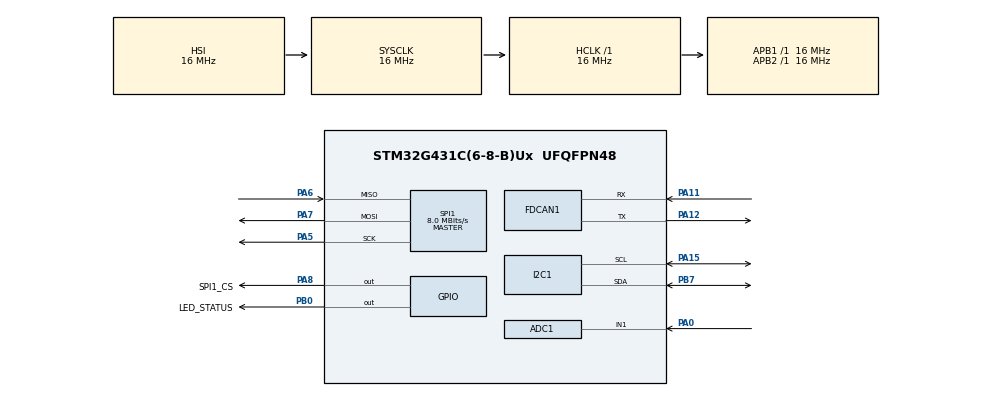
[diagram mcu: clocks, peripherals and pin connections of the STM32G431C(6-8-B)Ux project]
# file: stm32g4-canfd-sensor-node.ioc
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ADC1.Channel-0\#ChannelRegularConversion=ADC_CHANNEL_1
ADC1.NbrOfConversionFlag=1
ADC1.OffsetNumber-0\#ChannelRegularConversion=ADC_OFFSET_NONE
ADC1.Rank-0\#ChannelRegularConversion=1
ADC1.SamplingTime-0\#ChannelRegularConversion=ADC_SAMPLETIME_2CYCLES_5
ADC1.master=1
FDCAN1.CalculateBaudRateNominal=333333
FDCAN1.CalculateTimeBitNominal=3000
FDCAN1.CalculateTimeQuantumNominal=1000.0
I2C1.Timing=0x00503D58
Mcu.Family=STM32G4
Mcu.Name=STM32G431C(6-8-B)Ux
Mcu.Package=UFQFPN48
NVIC.PriorityGroup=NVIC_PRIORITYGROUP_4
PA0.Mode=IN1-Single-Ended
PA0.Signal=ADC1_IN1
PA11.Mode=FDCAN_Activate
PA11.Signal=FDCAN1_RX
PA12.Mode=FDCAN_Activate
PA12.Signal=FDCAN1_TX
PA13.Mode=Serial_Wire
PA13.Signal=SYS_JTMS-SWDIO
PA14.Mode=Serial_Wire
PA14.Signal=SYS_JTCK-SWCLK
PA15.Mode=I2C
PA15.Signal=I2C1_SCL
PA5.Mode=Full_Duplex_Master
PA5.Signal=SPI1_SCK
PA6.Mode=Full_Duplex_Master
PA6.Signal=SPI1_MISO
PA7.Mode=Full_Duplex_Master
PA7.Signal=SPI1_MOSI
PA8.GPIO_Label=SPI1_CS
PA8.PinState=GPIO_PIN_SET
PA8.Signal=GPIO_Output
PB0.GPIO_Label=LED_STATUS
PB0.Signal=GPIO_Output
PB7.Mode=I2C
PB7.Signal=I2C1_SDA
ProjectManager.HeapSize=0x200
ProjectManager.StackSize=0x400
ProjectManager.TargetToolchain=STM32CubeIDE
RCC.AHBFreq_Value=16000000
RCC.APB1Freq_Value=16000000
RCC.APB1TimFreq_Value=16000000
RCC.APB2Freq_Value=16000000
RCC.APB2TimFreq_Value=16000000
RCC.CortexFreq_Value=16000000
RCC.EXTERNAL_CLOCK_VALUE=12288000
RCC.HCLKFreq_Value=16000000
RCC.HSE_VALUE=8000000
RCC.HSI48_VALUE=48000000
RCC.HSI_VALUE=16000000
RCC.LSE_VALUE=32768
RCC.SYSCLKFreq_VALUE=16000000
RCC.USBFreq_Value=64000000
RCC.VCOOutputFreq_Value=128000000
SPI1.CalculateBaudRate=8.0 MBits/s
SPI1.Direction=SPI_DIRECTION_2LINES
SPI1.Mode=SPI_MODE_MASTER
SPI1.VirtualType=VM_MASTER
VP_SYS_VS_DBSignals.Mode=DisableDeadBatterySignals
board=custom

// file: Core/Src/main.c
/* USER CODE BEGIN Header */
/**
  ******************************************************************************
  * @file           : main.c
  * @brief          : Main program body
  ******************************************************************************
  * @attention
  *
  * Copyright (c) 2026 STMicroelectronics.
  * All rights reserved.
  *
  * This software is licensed under terms that can be found in the LICENSE file
  * in the root directory of this software component.
  * If no LICENSE file comes with this software, it is provided AS-IS.
  *
  ******************************************************************************
  */
/* USER CODE END Header */
#include "main.h"
#include "adc.h"
#include "fdcan.h"
#include "i2c.h"
#include "spi.h"
#include "gpio.h"

/* USER CODE BEGIN PV */
#define TMP101_I2C_ADDR_7BIT        0x48U
#define TMP101_REG_TEMP             0x00U

#define LIS3DH_WHO_AM_I_REG         0x0FU
#define LIS3DH_CTRL_REG1_REG        0x20U
#define LIS3DH_CTRL_REG4_REG        0x23U
#define LIS3DH_OUT_X_L_REG          0x28U

#define LIS3DH_SPI_READ_BIT         0x80U
#define LIS3DH_SPI_MS_BIT           0x40U
#define LIS3DH_WHO_AM_I_VAL         0x33U

#define LIS3DH_CTRL_REG1_100HZ_XYZ  0x57U
#define LIS3DH_CTRL_REG4_2G_HR      0x88U

typedef struct
{
  int16_t x_raw;
  int16_t y_raw;
  int16_t z_raw;
  float x_g;
  float y_g;
  float z_g;
} LIS3DH_AccelData_t;

uint8_t tmp101_raw[2] = { 0 };
float temperature_c = 0.0f;
HAL_StatusTypeDef tmp101_status = HAL_ERROR;

uint8_t lis3dh_who_am_i = 0;
HAL_StatusTypeDef lis3dh_spi_status = HAL_ERROR;
HAL_StatusTypeDef lis3dh_init_status = HAL_ERROR;
HAL_StatusTypeDef lis3dh_xyz_status = HAL_ERROR;
LIS3DH_AccelData_t lis3dh_accel = { 0 };
/* USER CODE END PV */

void SystemClock_Config(void);

/* USER CODE BEGIN 0 */
static float TMP101_ReadCelsius(I2C_HandleTypeDef *hi2c, HAL_StatusTypeDef *status)
{
  HAL_StatusTypeDef ret;

  if ((hi2c == NULL) || (status == NULL))
  {
    if (status != NULL)
    {
      *status = HAL_ERROR;
    }
    return 0.0f;
  }

  ret = HAL_I2C_Mem_Read(hi2c, (uint16_t)(TMP101_I2C_ADDR_7BIT << 1),
                         TMP101_REG_TEMP, I2C_MEMADD_SIZE_8BIT,
                         tmp101_raw, 2U, 100U);
  *status = ret;

  if (ret != HAL_OK)
  {
    return 0.0f;
  }

  /* Convert raw 12-bit temperature register data to degrees Celsius */
  int16_t raw_12bit = (int16_t)(((uint16_t)tmp101_raw[0] << 8) | tmp101_raw[1]) >> 4;
  if (raw_12bit & 0x0800)
  {
    raw_12bit |= (int16_t)0xF000;
  }

  return (float)raw_12bit * 0.0625f;
}

static HAL_StatusTypeDef LIS3DH_ReadWhoAmI(SPI_HandleTypeDef *hspi, uint8_t *p_id)
{
  uint8_t tx_data[2] = { (uint8_t)(LIS3DH_SPI_READ_BIT | LIS3DH_WHO_AM_I_REG), 0x00U };
  uint8_t rx_data[2] = { 0x00U, 0x00U };
  HAL_StatusTypeDef status;

  if (p_id == NULL)
  {
    return HAL_ERROR;
  }

  /* Assert CS low to start SPI transaction */
  HAL_GPIO_WritePin(SPI1_CS_GPIO_Port, SPI1_CS_Pin, GPIO_PIN_RESET);
  status = HAL_SPI_TransmitReceive(hspi, tx_data, rx_data, 2U, 100U);
  /* Deassert CS high after SPI transaction completes */
  HAL_GPIO_WritePin(SPI1_CS_GPIO_Port, SPI1_CS_Pin, GPIO_PIN_SET);

  if (status == HAL_OK)
  {
    *p_id = rx_data[1];
  }

  return status;
}

static HAL_StatusTypeDef LIS3DH_WriteReg(SPI_HandleTypeDef *hspi, uint8_t reg, uint8_t value)
{
  uint8_t tx_data[2] = { (uint8_t)(reg & 0x3FU), value };
  HAL_StatusTypeDef status;

  /* Assert CS low to start SPI write transaction */
  HAL_GPIO_WritePin(SPI1_CS_GPIO_Port, SPI1_CS_Pin, GPIO_PIN_RESET);
  status = HAL_SPI_Transmit(hspi, tx_data, 2U, 100U);
  /* Deassert CS high after SPI write transaction */
  HAL_GPIO_WritePin(SPI1_CS_GPIO_Port, SPI1_CS_Pin, GPIO_PIN_SET);

  return status;
}

static HAL_StatusTypeDef LIS3DH_InitAccel(SPI_HandleTypeDef *hspi)
{
  HAL_StatusTypeDef status;

  status = LIS3DH_WriteReg(hspi, LIS3DH_CTRL_REG4_REG, LIS3DH_CTRL_REG4_2G_HR);
  if (status != HAL_OK)
  {
    return status;
  }

  return LIS3DH_WriteReg(hspi, LIS3DH_CTRL_REG1_REG, LIS3DH_CTRL_REG1_100HZ_XYZ);
}

static HAL_StatusTypeDef LIS3DH_ReadAccelXYZ(SPI_HandleTypeDef *hspi, LIS3DH_AccelData_t *p_accel)
{
  /* Read 6 consecutive bytes starting at OUT_X_L (0x28) with READ + MS bits set */
  uint8_t tx_data[7] = {
    (uint8_t)(LIS3DH_SPI_READ_BIT | LIS3DH_SPI_MS_BIT | LIS3DH_OUT_X_L_REG),
    0x00U, 0x00U, 0x00U, 0x00U, 0x00U, 0x00U
  };
  uint8_t rx_data[7] = { 0 };
  HAL_StatusTypeDef status;

  if (p_accel == NULL)
  {
    return HAL_ERROR;
  }

  /* Assert CS low to start multi-byte SPI read transaction */
  HAL_GPIO_WritePin(SPI1_CS_GPIO_Port, SPI1_CS_Pin, GPIO_PIN_RESET);
  status = HAL_SPI_TransmitReceive(hspi, tx_data, rx_data, 7U, 100U);
  /* Deassert CS high after multi-byte SPI read transaction */
  HAL_GPIO_WritePin(SPI1_CS_GPIO_Port, SPI1_CS_Pin, GPIO_PIN_SET);

  if (status == HAL_OK)
  {
    /* rx_data[1..2]: X_L, X_H | rx_data[3..4]: Y_L, Y_H | rx_data[5..6]: Z_L, Z_H */
    p_accel->x_raw = (int16_t)(((uint16_t)rx_data[2] << 8) | rx_data[1]);
    p_accel->y_raw = (int16_t)(((uint16_t)rx_data[4] << 8) | rx_data[3]);
    p_accel->z_raw = (int16_t)(((uint16_t)rx_data[6] << 8) | rx_data[5]);

    /* In +/-2g mode, scale raw value to approximate g */
    p_accel->x_g = ((float)p_accel->x_raw / 16.0f) * 0.001f;
    p_accel->y_g = ((float)p_accel->y_raw / 16.0f) * 0.001f;
    p_accel->z_g = ((float)p_accel->z_raw / 16.0f) * 0.001f;
  }

  return status;
}
/* USER CODE END 0 */

int main(void)
{

  /* MCU Configuration--------------------------------------------------------*/

  /* Reset of all peripherals, Initializes the Flash interface and the Systick. */
  HAL_Init();

  /* Configure the system clock */
  SystemClock_Config();

  /* Initialize all configured peripherals */
  MX_GPIO_Init();
  MX_ADC1_Init();
  MX_FDCAN1_Init();
  MX_I2C1_Init();
  MX_SPI1_Init();
  /* USER CODE BEGIN 2 */
  lis3dh_spi_status = LIS3DH_ReadWhoAmI(&hspi1, &lis3dh_who_am_i);
  lis3dh_init_status = LIS3DH_InitAccel(&hspi1);
  /* USER CODE END 2 */

  /* Infinite loop */
  while (1)
  {

    /* USER CODE BEGIN 3 */
    HAL_GPIO_TogglePin(LED_STATUS_GPIO_Port, LED_STATUS_Pin);
    temperature_c = TMP101_ReadCelsius(&hi2c1, &tmp101_status);
    lis3dh_xyz_status = LIS3DH_ReadAccelXYZ(&hspi1, &lis3dh_accel);
    HAL_Delay(500);
    /* USER CODE END 3 */
  }
}

void SystemClock_Config(void)
{
  RCC_OscInitTypeDef RCC_OscInitStruct = {0};
  RCC_ClkInitTypeDef RCC_ClkInitStruct = {0};

  /** Configure the main internal regulator output voltage
  */
  HAL_PWREx_ControlVoltageScaling(PWR_REGULATOR_VOLTAGE_SCALE1);

  /** Initializes the RCC Oscillators according to the specified parameters
  * in the RCC_OscInitTypeDef structure.
  */
  RCC_OscInitStruct.OscillatorType = RCC_OSCILLATORTYPE_HSI;
  RCC_OscInitStruct.HSIState = RCC_HSI_ON;
  RCC_OscInitStruct.HSICalibrationValue = RCC_HSICALIBRATION_DEFAULT;
  RCC_OscInitStruct.PLL.PLLState = RCC_PLL_NONE;
  if (HAL_RCC_OscConfig(&RCC_OscInitStruct) != HAL_OK)
  {
    Error_Handler();
  }

  /** Initializes the CPU, AHB and APB buses clocks
  */
  RCC_ClkInitStruct.ClockType = RCC_CLOCKTYPE_HCLK|RCC_CLOCKTYPE_SYSCLK
                              |RCC_CLOCKTYPE_PCLK1|RCC_CLOCKTYPE_PCLK2;
  RCC_ClkInitStruct.SYSCLKSource = RCC_SYSCLKSOURCE_HSI;
  RCC_ClkInitStruct.AHBCLKDivider = RCC_SYSCLK_DIV1;
  RCC_ClkInitStruct.APB1CLKDivider = RCC_HCLK_DIV1;
  RCC_ClkInitStruct.APB2CLKDivider = RCC_HCLK_DIV1;

  if (HAL_RCC_ClockConfig(&RCC_ClkInitStruct, FLASH_LATENCY_0) != HAL_OK)
  {
    Error_Handler();
  }
}

void Error_Handler(void)
{
  __disable_irq();
  while (1)
  {
  }
}
